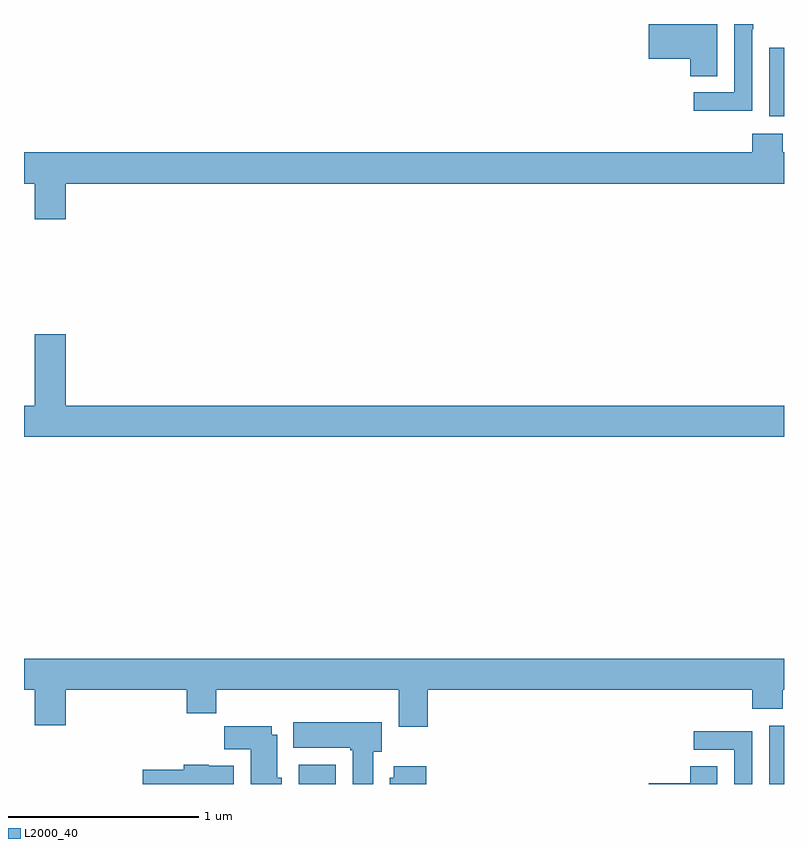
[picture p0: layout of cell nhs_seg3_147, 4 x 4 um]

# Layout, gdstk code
import gdstk
lib = gdstk.Library(unit=1e-6, precision=1e-09)
def R(c, l, rs):  # rectangles x0, y0, x1, y1
    for r in rs: c.add(gdstk.rectangle(r[:2], r[2:], *l))
def P(c, l, *ps):  # polygons
    for p in ps: c.add(gdstk.Polygon(p, *l))
L2000_40 = (2000, 40)

nhs_seg3_147 = lib.new_cell('nhs_seg3_147')
R(nhs_seg3_147, L2000_40, [(118.445,720.4,118.642,720.502), (120.923,720.4,121,720.706), (120.923,723.914,121,724.275)])
P(nhs_seg3_147, L2000_40, [(120.834,724.372),(120.837,724.372),(120.837,724.4),(120.738,724.4),(120.738,724.041),(120.525,724.041),(120.525,723.943),(120.834,723.943)],
  [(120.649,724.4),(120.288,724.4),(120.288,724.217),(120.506,724.217),(120.506,724.126),(120.649,724.126)],
  [(117.22,723.56),(121,723.56),(121,723.724),(120.993,723.724),(120.993,723.823),(120.833,723.823),(120.833,723.724),(117,723.724),(117,723.56),(117.056,723.56),(117.056,723.372),(117.22,723.372)],
  [(121,722.392),(117.22,722.392),(117.22,722.767),(117.056,722.767),(117.056,722.392),(117,722.392),(117,722.228),(121,722.228)],
  [(119.126,720.896),(120.833,720.896),(120.833,720.797),(120.993,720.797),(120.993,720.896),(121,720.896),(121,721.06),(117,721.06),(117,720.896),(117.056,720.896),(117.056,720.708),(117.22,720.708),(117.22,720.896),(117.857,720.896),(117.857,720.772),(118.013,720.772),(118.013,720.896),(118.973,720.896),(118.973,720.702),(119.126,720.702)],
  [(118.837,720.57),(118.882,720.57),(118.882,720.724),(118.418,720.724),(118.418,720.59),(118.717,720.59),(118.717,720.577),(118.73,720.577),(118.73,720.4),(118.837,720.4)],
  [(118.357,720.432),(118.333,720.432),(118.333,720.658),(118.303,720.658),(118.303,720.703),(118.054,720.703),(118.054,720.584),(118.193,720.584),(118.193,720.4),(118.357,720.4)],
  [(120.834,720.678),(120.525,720.678),(120.525,720.579),(120.738,720.579),(120.738,720.4),(120.834,720.4)],
  [(118.105,720.496),(117.972,720.496),(117.972,720.502),(117.842,720.502),(117.842,720.474),(117.624,720.474),(117.624,720.4),(118.105,720.4)],
  [(120.649,720.494),(120.506,720.494),(120.506,720.404),(120.288,720.404),(120.288,720.4),(120.649,720.4)],
  [(119.117,720.493),(118.946,720.493),(118.946,720.432),(118.925,720.432),(118.925,720.4),(119.117,720.4)])

lib.write_gds('nhs_seg3_147.gds')
